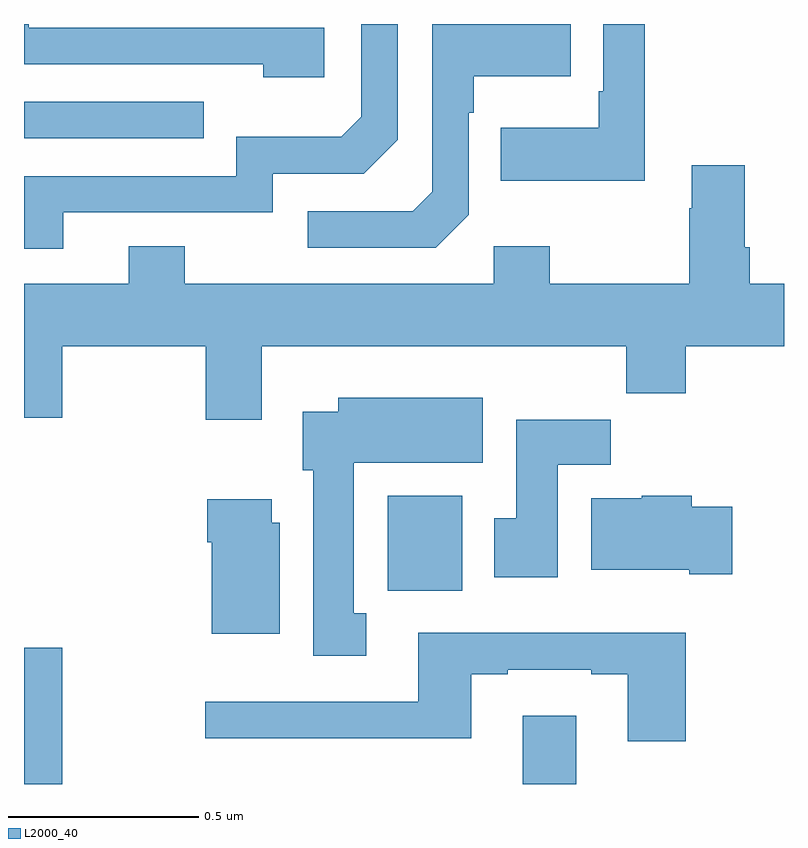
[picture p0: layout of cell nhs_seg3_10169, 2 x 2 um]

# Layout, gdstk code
import gdstk
lib = gdstk.Library(unit=1e-6, precision=1e-09)
def R(c, l, rs):  # rectangles x0, y0, x1, y1
    for r in rs: c.add(gdstk.rectangle(r[:2], r[2:], *l))
def P(c, l, *ps):  # polygons
    for p in ps: c.add(gdstk.Polygon(p, *l))
L2000_40 = (2000, 40)

nhs_seg3_10169 = lib.new_cell('nhs_seg3_10169')
R(nhs_seg3_10169, L2000_40, [(237,730.4,237.1,730.759), (238.313,730.4,238.453,730.579), (237.957,730.908,238.153,731.158), (237,732.099,237.473,732.195)])
P(nhs_seg3_10169, L2000_40, [(238.633,732.4),(238.524,732.4),(238.524,732.223),(238.512,732.223),(238.512,732.127),(238.255,732.127),(238.255,731.987),(238.633,731.987)],
  [(237.103,731.904),(237.654,731.904),(237.654,732.006),(237.894,732.006),(237.984,732.096),(237.984,732.4),(237.888,732.4),(237.888,732.156),(237.835,732.103),(237.558,732.103),(237.558,732),(237,732),(237,731.808),(237.103,731.808)],
  [(238.17,731.898),(238.17,732.167),(238.183,732.167),(238.183,732.263),(238.439,732.263),(238.439,732.4),(238.074,732.4),(238.074,731.958),(238.023,731.907),(237.747,731.907),(237.747,731.811),(238.083,731.811)],
  [(237.79,732.39),(237.013,732.39),(237.013,732.4),(237,732.4),(237,732.294),(237.629,732.294),(237.629,732.26),(237.79,732.26)],
  [(237.625,731.552),(238.585,731.552),(238.585,731.428),(238.742,731.428),(238.742,731.552),(239,731.552),(239,731.716),(238.91,731.716),(238.91,731.812),(238.897,731.812),(238.897,732.028),(238.757,732.028),(238.757,731.915),(238.75,731.915),(238.75,731.716),(238.383,731.716),(238.383,731.815),(238.236,731.815),(238.236,731.716),(237.423,731.716),(237.423,731.815),(237.275,731.815),(237.275,731.716),(237,731.716),(237,731.364),(237.1,731.364),(237.1,731.552),(237.478,731.552),(237.478,731.358),(237.625,731.358)],
  [(237.901,730.849),(237.868,730.849),(237.868,731.246),(238.207,731.246),(238.207,731.416),(237.827,731.416),(237.827,731.38),(237.734,731.38),(237.734,731.226),(237.761,731.226),(237.761,730.737),(237.901,730.737)],
  [(238.405,731.24),(238.544,731.24),(238.544,731.358),(238.295,731.358),(238.295,731.1),(238.238,731.1),(238.238,730.944),(238.405,730.944)],
  [(238.864,731.13),(238.757,731.13),(238.757,731.158),(238.626,731.158),(238.626,731.152),(238.493,731.152),(238.493,730.964),(238.751,730.964),(238.751,730.952),(238.864,730.952)],
  [(237.673,731.088),(237.652,731.088),(237.652,731.149),(237.482,731.149),(237.482,731.036),(237.494,731.036),(237.494,730.796),(237.673,730.796)],
  [(238.742,730.798),(238.037,730.798),(238.037,730.617),(237.477,730.617),(237.477,730.52),(238.177,730.52),(238.177,730.689),(238.273,730.689),(238.273,730.701),(238.493,730.701),(238.493,730.689),(238.589,730.689),(238.589,730.512),(238.742,730.512)])

lib.write_gds('nhs_seg3_10169.gds')
